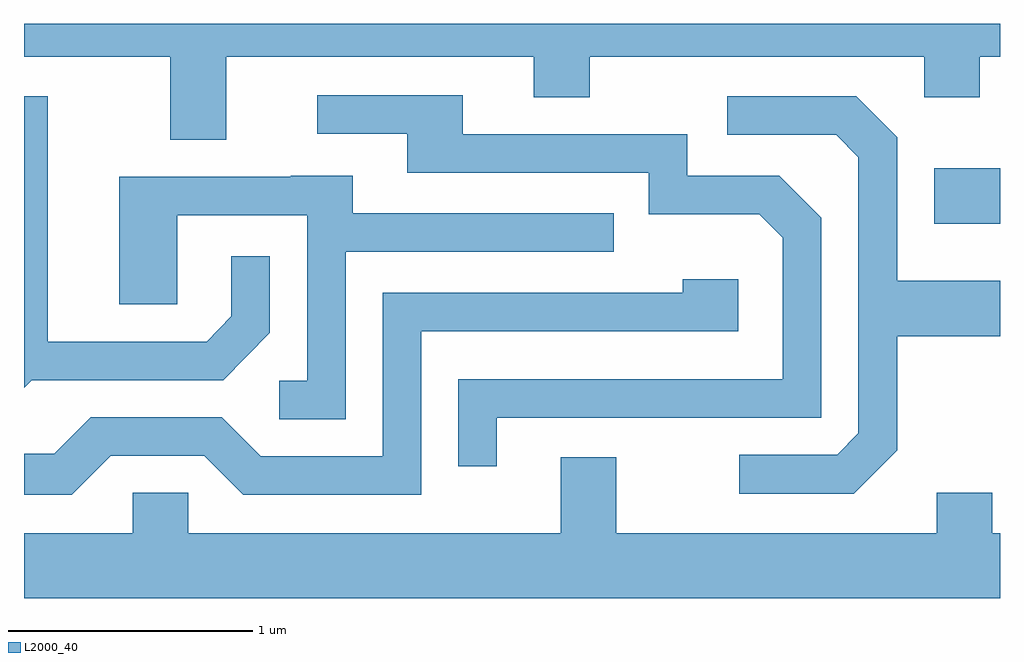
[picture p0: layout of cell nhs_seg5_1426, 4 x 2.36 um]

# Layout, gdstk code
import gdstk
lib = gdstk.Library(unit=1e-6, precision=1e-09)
def R(c, l, rs):  # rectangles x0, y0, x1, y1
    for r in rs: c.add(gdstk.rectangle(r[:2], r[2:], *l))
def P(c, l, *ps):  # polygons
    for p in ps: c.add(gdstk.Polygon(p, *l))
L2000_40 = (2000, 40)

nhs_seg5_1426 = lib.new_cell('nhs_seg5_1426')
R(nhs_seg5_1426, L2000_40, [(231.341,1427.251,231.611,1427.479)])
P(nhs_seg5_1426, L2000_40, [(228.439,1427.936),(229.701,1427.936),(229.701,1427.771),(229.929,1427.771),(229.929,1427.936),(231.301,1427.936),(231.301,1427.771),(231.529,1427.771),(231.529,1427.936),(231.611,1427.936),(231.611,1428.072),(227.611,1428.072),(227.611,1427.936),(228.211,1427.936),(228.211,1427.596),(228.439,1427.596)],
  [(229.549,1426.456),(230.879,1426.456),(230.879,1427.277),(230.707,1427.449),(230.329,1427.449),(230.329,1427.619),(229.409,1427.619),(229.409,1427.779),(228.813,1427.779),(228.813,1427.621),(229.181,1427.621),(229.181,1427.461),(230.171,1427.461),(230.171,1427.291),(230.624,1427.291),(230.721,1427.194),(230.721,1426.614),(229.391,1426.614),(229.391,1426.258),(229.549,1426.258)],
  [(231.189,1426.324),(231.189,1426.791),(231.611,1426.791),(231.611,1427.019),(231.189,1427.019),(231.189,1427.607),(231.022,1427.774),(230.493,1427.774),(230.493,1427.616),(230.939,1427.616),(231.031,1427.524),(231.031,1426.392),(230.944,1426.304),(230.543,1426.304),(230.543,1426.146),(231.012,1426.146)],
  [(227.642,1426.611),(228.427,1426.611),(228.619,1426.804),(228.619,1427.118),(228.461,1427.118),(228.461,1426.872),(228.359,1426.769),(227.709,1426.769),(227.709,1427.774),(227.611,1427.774),(227.611,1426.58)],
  [(228.929,1427.136),(230.028,1427.136),(230.028,1427.294),(228.959,1427.294),(228.959,1427.449),(228.705,1427.449),(228.705,1427.444),(228.001,1427.444),(228.001,1426.921),(228.239,1426.921),(228.239,1427.286),(228.771,1427.286),(228.771,1426.609),(228.658,1426.609),(228.658,1426.451),(228.929,1426.451)],
  [(227.967,1426.301),(228.349,1426.301),(228.509,1426.141),(229.239,1426.141),(229.239,1426.811),(230.539,1426.811),(230.539,1427.024),(230.311,1427.024),(230.311,1426.969),(229.081,1426.969),(229.081,1426.299),(228.582,1426.299),(228.422,1426.459),(227.884,1426.459),(227.734,1426.309),(227.611,1426.309),(227.611,1426.141),(227.807,1426.141)],
  [(231.611,1425.984),(231.579,1425.984),(231.579,1426.149),(231.351,1426.149),(231.351,1425.984),(230.039,1425.984),(230.039,1426.294),(229.811,1426.294),(229.811,1425.984),(228.284,1425.984),(228.284,1426.149),(228.056,1426.149),(228.056,1425.984),(227.611,1425.984),(227.611,1425.716),(231.611,1425.716)])

lib.write_gds('nhs_seg5_1426.gds')
